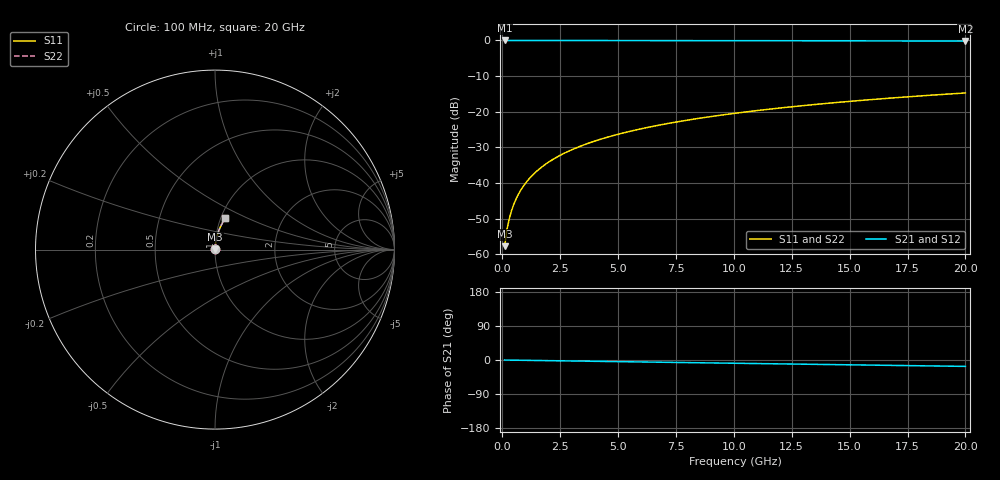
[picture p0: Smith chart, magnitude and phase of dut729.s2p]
! Touchstone file exported from HFSS 2026.1.0
!  File:  C:/ffzhzh/LocalFiles/Ansys_Project_Files/temp_train_TMRDL_729_1783154905_43440.aedt
!  Generated:  04:49:35 PM Jul  4, 2026
!  Design:  TMRDL
!  Project:  temp_train_TMRDL_729_1783154905_43440
! Variables:
!  h_bsmrdl = 2um
!  h_ox = 20um
!  h_rdl = 5um
!  h_sub = 80um
!  h_tmrdl = 4.71um
!  h_tsv = 80um
!  h_via = 3um
!  l_bsmrdl = 300um
!  l_sub = 591.22um
!  l_tmrdl = 191.22um
!  m_sub = 200um
!  pitch = 58.99um
!  r_tsv = 6um
!  s_tmrdl = 10um
!  w_bsmrdl = 18um
!  w_sub = 500um
!  w_tmrdl = 24um
!  x_tsv_center1 = 203.22um
!  x_tsv_center2 = 521.22um
!  x_tsv_center3 = 736.44um
!  x_tsv_center4 = 1054.44um
!  x_tsv_center5 = 1269.66um
!  x_tsv_center6 = 1587.66um
# GHz S MA R 50.000000
! Terminal data exported
! Port[1] = TM_RDL1_1_T1
! Port[2] = TM_RDL1_1_T2
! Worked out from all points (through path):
!   200 points, 100 MHz to 20 GHz, reference 50 ohm
!   highest |S21| = -0.01 dB at 100 MHz (marker M1); lowest = -0.2 dB at 20 GHz (marker M2)
!   group delay of S21, straight-line fit = 2.34 ps
!   lowest |S11| = -57.8 dB at 100 MHz (marker M3), VSWR 1.00, Z = 50.1 + j0.104 ohm
!   |S11| at or under -10 dB: start of sweep to end of sweep
!   |S22| runs from -57.8 to -14.7 dB; largest |S21 - S12| = 6.2e-15
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0.1  0.001294 53.5  0.9992 -0.1  0.9992 -0.1  0.001294 53.5
! Gamma 0 0 0 0
! Port Impedance 50 0 50 0
0.2  0.002197 68.0  0.9992 -0.2  0.9992 -0.2  0.002197 68.0
0.3  0.003135 74.0  0.9991 -0.3  0.9991 -0.3  0.003135 74.0
0.4  0.004083 77.3  0.9991 -0.4  0.9991 -0.4  0.004083 77.3
0.5  0.005038 79.4  0.9991 -0.4  0.9991 -0.4  0.005038 79.4
0.7  0.006964 81.8  0.999 -0.6  0.999 -0.6  0.006964 81.8
0.8  0.007931 82.6  0.999 -0.7  0.999 -0.7  0.007931 82.6
1  0.00987 83.6  0.999 -0.9  0.999 -0.9  0.00987 83.6
1.2  0.01181 84.2  0.9989 -1.1  0.9989 -1.1  0.01181 84.2
1.4  0.01375 84.5  0.9989 -1.2  0.9989 -1.2  0.01375 84.5
1.7  0.01666 84.8  0.9988 -1.5  0.9988 -1.5  0.01666 84.8
2  0.01957 84.9  0.9987 -1.7  0.9987 -1.7  0.01957 84.9
2.7  0.02631 84.8  0.9984 -2.4  0.9984 -2.4  0.02631 84.8
3.5  0.03396 84.4  0.9979 -3.0  0.9979 -3.0  0.03396 84.4
4.2  0.04061 84.0  0.9975 -3.6  0.9975 -3.6  0.04061 84.0
5  0.04816 83.5  0.997 -4.3  0.997 -4.3  0.04816 83.5
6.8  0.06498 82.1  0.9956 -5.9  0.9956 -5.9  0.06498 82.1
8.3  0.07887 81.0  0.9943 -7.1  0.9943 -7.1  0.07887 81.0
10.1  0.09539 79.7  0.9926 -8.6  0.9926 -8.6  0.09539 79.7
13.4  0.1253 77.1  0.9889 -11.4  0.9889 -11.4  0.1253 77.1
16.7  0.1545 74.5  0.9843 -14.2  0.9843 -14.2  0.1545 74.5
20  0.1831 71.9  0.9791 -16.9  0.9791 -16.9  0.1831 71.9
